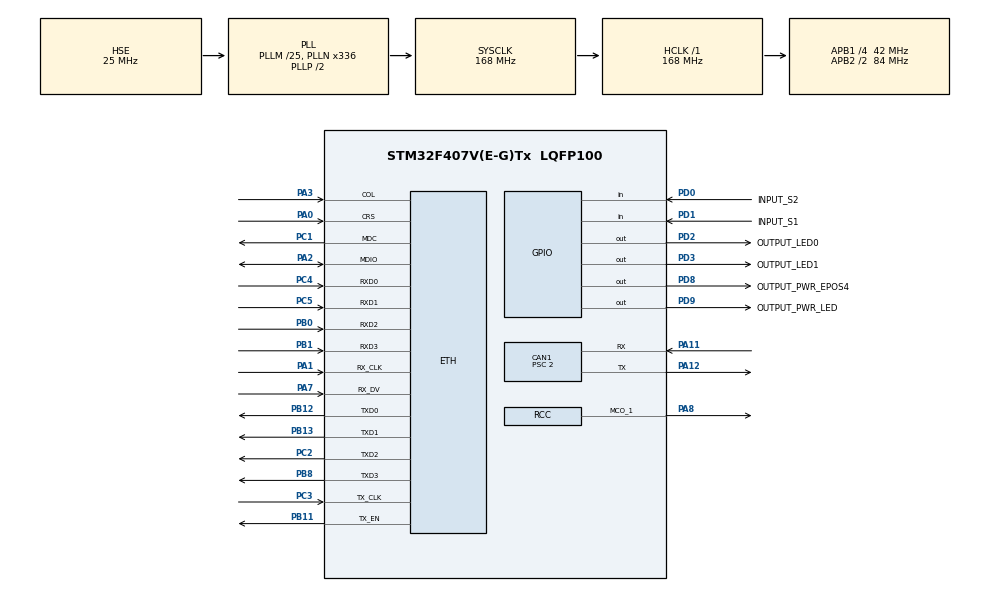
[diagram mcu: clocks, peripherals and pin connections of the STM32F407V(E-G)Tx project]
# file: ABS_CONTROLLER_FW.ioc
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CAN1.BS1=CAN_BS1_13TQ
CAN1.BS2=CAN_BS2_7TQ
CAN1.CalculateBaudRate=1000000
CAN1.CalculateTimeQuantum=47.61904761904762
CAN1.Prescaler=2
ETH.MediaInterface=HAL_ETH_MII_MODE
LWIP.GATEWAY_ADDRESS=192.168.000.001
LWIP.IP_ADDRESS=192.168.000.022
LWIP.LWIP_DHCP=0
LWIP.NETMASK_ADDRESS=255.255.255.000
LWIP.Version=v2.1.2_Cube
Mcu.Family=STM32F4
Mcu.Name=STM32F407V(E-G)Tx
Mcu.Package=LQFP100
NVIC.CAN1_RX0_IRQn=true\:0\:0\:false\:false\:true\:true\:true\:true
NVIC.PriorityGroup=NVIC_PRIORITYGROUP_4
NVIC.TIM5_IRQn=true\:0\:0\:false\:false\:true\:true\:true\:true
NVIC.TIM6_DAC_IRQn=true\:0\:0\:false\:false\:true\:true\:true\:true
NVIC.TIM7_IRQn=true\:0\:0\:false\:false\:true\:true\:true\:true
PA0-WKUP.Mode=MII
PA0-WKUP.Signal=ETH_CRS
PA1.Mode=MII
PA1.Signal=ETH_RX_CLK
PA11.Mode=CAN_Activate
PA11.Signal=CAN1_RX
PA12.Mode=CAN_Activate
PA12.Signal=CAN1_TX
PA13.Mode=Serial_Wire
PA13.Signal=SYS_JTMS-SWDIO
PA14.Mode=Serial_Wire
PA14.Signal=SYS_JTCK-SWCLK
PA2.Mode=MII
PA2.Signal=ETH_MDIO
PA3.Mode=MII
PA3.Signal=ETH_COL
PA7.Mode=MII
PA7.Signal=ETH_RX_DV
PA8.Mode=Clock-out-1
PA8.Signal=RCC_MCO_1
PB0.Mode=MII
PB0.Signal=ETH_RXD2
PB1.Mode=MII
PB1.Signal=ETH_RXD3
PB11.Mode=MII
PB11.Signal=ETH_TX_EN
PB12.Mode=MII
PB12.Signal=ETH_TXD0
PB13.Mode=MII
PB13.Signal=ETH_TXD1
PB8.Mode=MII
PB8.Signal=ETH_TXD3
PC1.Mode=MII
PC1.Signal=ETH_MDC
PC2.Mode=MII
PC2.Signal=ETH_TXD2
PC3.Mode=MII
PC3.Signal=ETH_TX_CLK
PC4.Mode=MII
PC4.Signal=ETH_RXD0
PC5.Mode=MII
PC5.Signal=ETH_RXD1
PD0.GPIO_Label=INPUT_S2
PD0.GPIO_Mode=GPIO_MODE_INPUT
PD0.GPIO_PuPd=GPIO_PULLUP
PD0.Signal=GPIO_Input
PD1.GPIO_Label=INPUT_S1
PD1.GPIO_Mode=GPIO_MODE_INPUT
PD1.GPIO_PuPd=GPIO_PULLUP
PD1.Signal=GPIO_Input
PD2.GPIO_Label=OUTPUT_LED0
PD2.GPIO_ModeDefaultOutputPP=GPIO_MODE_OUTPUT_PP
PD2.GPIO_PuPd=GPIO_NOPULL
PD2.GPIO_Speed=GPIO_SPEED_FREQ_VERY_HIGH
PD2.PinState=GPIO_PIN_RESET
PD2.Signal=GPIO_Output
PD3.GPIO_Label=OUTPUT_LED1
PD3.GPIO_ModeDefaultOutputPP=GPIO_MODE_OUTPUT_PP
PD3.GPIO_PuPd=GPIO_NOPULL
PD3.GPIO_Speed=GPIO_SPEED_FREQ_VERY_HIGH
PD3.PinState=GPIO_PIN_RESET
PD3.Signal=GPIO_Output
PD8.GPIO_Label=OUTPUT_PWR_EPOS4
PD8.GPIO_ModeDefaultOutputPP=GPIO_MODE_OUTPUT_PP
PD8.GPIO_PuPd=GPIO_NOPULL
PD8.GPIO_Speed=GPIO_SPEED_FREQ_VERY_HIGH
PD8.PinState=GPIO_PIN_RESET
PD8.Signal=GPIO_Output
PD9.GPIO_Label=OUTPUT_PWR_LED
PD9.GPIO_ModeDefaultOutputPP=GPIO_MODE_OUTPUT_PP
PD9.GPIO_PuPd=GPIO_NOPULL
PD9.GPIO_Speed=GPIO_SPEED_FREQ_VERY_HIGH
PD9.PinState=GPIO_PIN_RESET
PD9.Signal=GPIO_Output
PH0-OSC_IN.Mode=HSE-External-Clock-Source
PH0-OSC_IN.Signal=RCC_OSC_IN
PH1-OSC_OUT.Mode=HSE-External-Clock-Source
PH1-OSC_OUT.Signal=RCC_OSC_OUT
ProjectManager.HeapSize=0x200
ProjectManager.StackSize=0x400
ProjectManager.TargetToolchain=STM32CubeIDE
RCC.48MHZClocksFreq_Value=84000000
RCC.AHBFreq_Value=168000000
RCC.APB1CLKDivider=RCC_HCLK_DIV4
RCC.APB1Freq_Value=42000000
RCC.APB1TimFreq_Value=84000000
RCC.APB2CLKDivider=RCC_HCLK_DIV2
RCC.APB2Freq_Value=84000000
RCC.APB2TimFreq_Value=168000000
RCC.CortexFreq_Value=168000000
RCC.HCLKFreq_Value=168000000
RCC.HSE_VALUE=25000000
RCC.HSI_VALUE=16000000
RCC.LSE_VALUE=32768
RCC.PLLM=25
RCC.PLLN=336
RCC.PLLSourceVirtual=RCC_PLLSOURCE_HSE
RCC.RCC_MCO1Source=RCC_MCO1SOURCE_HSE
RCC.SYSCLKFreq_VALUE=168000000
RCC.SYSCLKSource=RCC_SYSCLKSOURCE_PLLCLK
RCC.VCOOutputFreq_Value=336000000
TIM5.Period=1000-1
TIM5.Prescaler=84-1
TIM6.Period=1000-1
TIM6.Prescaler=84-1
TIM7.Period=1000-1
TIM7.Prescaler=84-1
VP_LWIP_VS_Enabled.Mode=Enabled
VP_TIM5_VS_ClockSourceINT.Mode=Internal
VP_TIM6_VS_ClockSourceINT.Mode=Enable_Timer
VP_TIM7_VS_ClockSourceINT.Mode=Enable_Timer
board=custom

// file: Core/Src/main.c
/* USER CODE BEGIN Header */
/**
  ******************************************************************************
  * @file           : main.c
  * @brief          : Main program body
  ******************************************************************************
  * @attention
  *
  * Copyright (c) 2026 STMicroelectronics.
  * All rights reserved.
  *
  * This software is licensed under terms that can be found in the LICENSE file
  * in the root directory of this software component.
  * If no LICENSE file comes with this software, it is provided AS-IS.
  *
  ******************************************************************************
  */
/* USER CODE END Header */
#include "main.h"
#include "can.h"
#include "lwip.h"
#include "tim.h"
#include "gpio.h"

/* USER CODE BEGIN Includes */
#include "motor.h"
#include "control_udp.h"
#include "board_identity.h"
#include "app_time.h"
#include "app_scheduler.h"

/* USER CODE END Includes */

void SystemClock_Config(void);

int main(void)
{

  /* MCU Configuration--------------------------------------------------------*/

  /* Reset of all peripherals, Initializes the Flash interface and the Systick. */
  HAL_Init();

  /* Configure the system clock */
  SystemClock_Config();

  /* USER CODE BEGIN SysInit */
  if (BoardIdentity_Init() != HAL_OK) Error_Handler();
  /* USER CODE END SysInit */

  /* Initialize all configured peripherals */
  MX_GPIO_Init();
  MX_CAN1_Init();
  MX_LWIP_Init();
  MX_TIM5_Init();
  MX_TIM6_Init();
  MX_TIM7_Init();
  /* USER CODE BEGIN 2 */
  if (Motor_Init() != HAL_OK) Error_Handler();
  if (ControlUdp_Init() != ERR_OK) Error_Handler();
  AppScheduler_Init();
  /* TIM5/TIM7 are initialized by CubeMX but have no assigned application job. */
  HAL_NVIC_DisableIRQ(TIM5_IRQn);
  HAL_NVIC_DisableIRQ(TIM7_IRQn);
  if (HAL_TIM_Base_Start_IT(&htim6) != HAL_OK) Error_Handler();

  /* USER CODE END 2 */

  /* Infinite loop */
  /* USER CODE BEGIN WHILE */
  while (1)
  {
	  AppScheduler_Process();
	  MX_LWIP_Process();
    /* USER CODE END WHILE */

  }
}

void SystemClock_Config(void)
{
  RCC_OscInitTypeDef RCC_OscInitStruct = {0};
  RCC_ClkInitTypeDef RCC_ClkInitStruct = {0};

  /** Configure the main internal regulator output voltage
  */
  __HAL_RCC_PWR_CLK_ENABLE();
  __HAL_PWR_VOLTAGESCALING_CONFIG(PWR_REGULATOR_VOLTAGE_SCALE1);

  /** Initializes the RCC Oscillators according to the specified parameters
  * in the RCC_OscInitTypeDef structure.
  */
  RCC_OscInitStruct.OscillatorType = RCC_OSCILLATORTYPE_HSE;
  RCC_OscInitStruct.HSEState = RCC_HSE_BYPASS;
  RCC_OscInitStruct.PLL.PLLState = RCC_PLL_ON;
  RCC_OscInitStruct.PLL.PLLSource = RCC_PLLSOURCE_HSE;
  RCC_OscInitStruct.PLL.PLLM = 25;
  RCC_OscInitStruct.PLL.PLLN = 336;
  RCC_OscInitStruct.PLL.PLLP = RCC_PLLP_DIV2;
  RCC_OscInitStruct.PLL.PLLQ = 4;
  if (HAL_RCC_OscConfig(&RCC_OscInitStruct) != HAL_OK)
  {
    Error_Handler();
  }

  /** Initializes the CPU, AHB and APB buses clocks
  */
  RCC_ClkInitStruct.ClockType = RCC_CLOCKTYPE_HCLK|RCC_CLOCKTYPE_SYSCLK
                              |RCC_CLOCKTYPE_PCLK1|RCC_CLOCKTYPE_PCLK2;
  RCC_ClkInitStruct.SYSCLKSource = RCC_SYSCLKSOURCE_PLLCLK;
  RCC_ClkInitStruct.AHBCLKDivider = RCC_SYSCLK_DIV1;
  RCC_ClkInitStruct.APB1CLKDivider = RCC_HCLK_DIV4;
  RCC_ClkInitStruct.APB2CLKDivider = RCC_HCLK_DIV2;

  if (HAL_RCC_ClockConfig(&RCC_ClkInitStruct, FLASH_LATENCY_5) != HAL_OK)
  {
    Error_Handler();
  }
  HAL_RCC_MCOConfig(RCC_MCO1, RCC_MCO1SOURCE_HSE, RCC_MCODIV_1);
}

/* USER CODE BEGIN 4 */

void HAL_TIM_PeriodElapsedCallback(TIM_HandleTypeDef *htim)
{
    if (htim->Instance == TIM6) AppTime_Tick1ms();
}

/* USER CODE END 4 */

void Error_Handler(void)
{
  __disable_irq();
  while (1)
  {
  }
}
